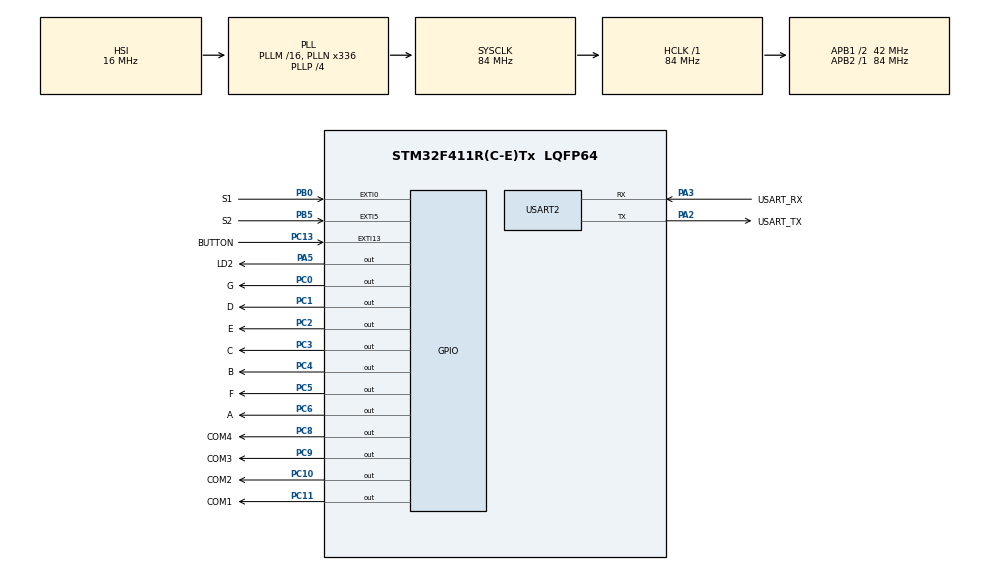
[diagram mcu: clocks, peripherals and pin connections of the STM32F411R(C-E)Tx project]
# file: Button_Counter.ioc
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Mcu.Family=STM32F4
Mcu.Name=STM32F411R(C-E)Tx
Mcu.Package=LQFP64
NVIC.EXTI0_IRQn=true\:0\:0\:false\:false\:true\:true\:true\:true
NVIC.EXTI15_10_IRQn=true\:0\:0\:false\:false\:true\:true\:true\:true
NVIC.EXTI9_5_IRQn=true\:0\:0\:false\:false\:true\:true\:true\:true
NVIC.PriorityGroup=NVIC_PRIORITYGROUP_0
NVIC.TIM1_TRG_COM_TIM11_IRQn=true\:0\:0\:false\:false\:true\:true\:true\:true
PA13.GPIO_Label=TMS
PA13.Mode=Serial_Wire
PA13.Signal=SYS_JTMS-SWDIO
PA14.GPIO_Label=TCK
PA14.Mode=Serial_Wire
PA14.Signal=SYS_JTCK-SWCLK
PA2.GPIO_Label=USART_TX
PA2.Mode=Asynchronous
PA2.Signal=USART2_TX
PA3.GPIO_Label=USART_RX
PA3.Mode=Asynchronous
PA3.Signal=USART2_RX
PA5.GPIO_Label=LD2
PA5.Signal=GPIO_Output
PB0.GPIO_Label=S1
PB0.GPIO_ModeDefaultEXTI=GPIO_MODE_IT_RISING
PB0.GPIO_PuPd=GPIO_PULLUP
PB0.Signal=GPXTI0
PB3.GPIO_Label=SWO
PB3.Signal=SYS_JTDO-SWO
PB5.GPIO_Label=S2
PB5.GPIO_ModeDefaultEXTI=GPIO_MODE_IT_RISING
PB5.GPIO_PuPd=GPIO_PULLUP
PB5.Signal=GPXTI5
PC0.GPIO_Label=G
PC0.Signal=GPIO_Output
PC1.GPIO_Label=D
PC1.Signal=GPIO_Output
PC10.GPIO_Label=COM2
PC10.Signal=GPIO_Output
PC11.GPIO_Label=COM1
PC11.Signal=GPIO_Output
PC13-ANTI_TAMP.GPIO_Label=BUTTON
PC13-ANTI_TAMP.Signal=GPXTI13
PC14-OSC32_IN.Mode=LSE-External-Oscillator
PC14-OSC32_IN.Signal=RCC_OSC32_IN
PC15-OSC32_OUT.Mode=LSE-External-Oscillator
PC15-OSC32_OUT.Signal=RCC_OSC32_OUT
PC2.GPIO_Label=E
PC2.Signal=GPIO_Output
PC3.GPIO_Label=C
PC3.Signal=GPIO_Output
PC4.GPIO_Label=B
PC4.Signal=GPIO_Output
PC5.GPIO_Label=F
PC5.Signal=GPIO_Output
PC6.GPIO_Label=A
PC6.Signal=GPIO_Output
PC8.GPIO_Label=COM4
PC8.Signal=GPIO_Output
PC9.GPIO_Label=COM3
PC9.Signal=GPIO_Output
PH0\ -\ OSC_IN.Mode=HSE-External-Clock-Source
PH0\ -\ OSC_IN.Signal=RCC_OSC_IN
PH1\ -\ OSC_OUT.Mode=HSE-External-Clock-Source
PH1\ -\ OSC_OUT.Signal=RCC_OSC_OUT
ProjectManager.HeapSize=0x200
ProjectManager.StackSize=0x400
ProjectManager.TargetToolchain=STM32CubeIDE
RCC.48MHZClocksFreq_Value=84000000
RCC.AHBFreq_Value=84000000
RCC.APB1CLKDivider=RCC_HCLK_DIV2
RCC.APB1Freq_Value=42000000
RCC.APB1TimFreq_Value=84000000
RCC.APB2Freq_Value=84000000
RCC.APB2TimFreq_Value=84000000
RCC.CortexFreq_Value=84000000
RCC.FLatency-AdvancedSettings=FLASH_LATENCY_2
RCC.HCLKFreq_Value=84000000
RCC.HSE_VALUE=8000000
RCC.HSI_VALUE=16000000
RCC.PLLN=336
RCC.PLLP=RCC_PLLP_DIV4
RCC.SYSCLKFreq_VALUE=84000000
RCC.SYSCLKSource=RCC_SYSCLKSOURCE_PLLCLK
RCC.VCOOutputFreq_Value=336000000
TIM11.AutoReloadPreload=TIM_AUTORELOAD_PRELOAD_DISABLE
TIM11.Period=99
TIM11.Prescaler=41999
USART2.VirtualMode=VM_ASYNC
VP_TIM11_VS_ClockSourceINT.Mode=Enable_Timer
board=NUCLEO-F411RE

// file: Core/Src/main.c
/* USER CODE BEGIN Header */
/**
  ******************************************************************************
  * @file           : main.c
  * @brief          : Main program body
  ******************************************************************************
  * @attention
  *
  * Copyright (c) 2022 STMicroelectronics.
  * All rights reserved.
  *
  * This software is licensed under terms that can be found in the LICENSE file
  * in the root directory of this software component.
  * If no LICENSE file comes with this software, it is provided AS-IS.
  *
  ******************************************************************************
  */
/* USER CODE END Header */
#include "main.h"

/* USER CODE BEGIN Includes */
#include <stdio.h>
#include <stdbool.h>
/* USER CODE END Includes */

TIM_HandleTypeDef htim11;
UART_HandleTypeDef huart2;

/* USER CODE BEGIN PV */

volatile int number = 1981; //default number
volatile uint8_t COM = 4;	//actual display port
_Bool state = true;			//button debouncing flag

/* USER CODE END PV */

void SystemClock_Config(void);
static void MX_GPIO_Init(void);
static void MX_USART2_UART_Init(void);
static void MX_TIM11_Init(void);
/* USER CODE BEGIN PFP */

void HAL_TIM_PeriodElapsedCallback(TIM_HandleTypeDef *htim){
//				Timer interrupt
	if(HAL_GPIO_ReadPin(S1_GPIO_Port, S1_Pin) == GPIO_PIN_RESET){	//interrupt unlocked S1 button
		number--;
		state = true;
		HAL_TIM_Base_Stop_IT(&htim11);
	}

	if(HAL_GPIO_ReadPin(S2_GPIO_Port, S2_Pin) == GPIO_PIN_RESET){ 	//interrupt unlocked S2 button
		number++;
		state = true;
		HAL_TIM_Base_Stop_IT(&htim11);
	}
}

void led_Init(){
//		Starting led initialization ( check is all LEDs is work )
	  HAL_GPIO_WritePin(LD2_GPIO_Port, LD2_Pin, GPIO_PIN_SET);	//on board led LD2
	  HAL_Delay(800);
	  HAL_GPIO_WritePin(LD2_GPIO_Port, LD2_Pin, GPIO_PIN_RESET);

	  HAL_GPIO_WritePin(COM1_GPIO_Port, COM1_Pin, GPIO_PIN_RESET);	//avaliable all display Port
	  HAL_GPIO_WritePin(COM2_GPIO_Port, COM2_Pin, GPIO_PIN_RESET);
	  HAL_GPIO_WritePin(COM3_GPIO_Port, COM3_Pin, GPIO_PIN_RESET);
	  HAL_GPIO_WritePin(COM4_GPIO_Port, COM4_Pin, GPIO_PIN_RESET);
	  HAL_GPIO_WritePin(A_GPIO_Port, A_Pin, GPIO_PIN_SET);	//switch on segment display sector: A
	  HAL_GPIO_WritePin(B_GPIO_Port, B_Pin, GPIO_PIN_SET);	//: B
	  HAL_GPIO_WritePin(C_GPIO_Port, C_Pin, GPIO_PIN_SET);	//: C
	  HAL_GPIO_WritePin(D_GPIO_Port, D_Pin, GPIO_PIN_SET);	//: D
	  HAL_GPIO_WritePin(E_GPIO_Port, E_Pin, GPIO_PIN_SET);	//: E
	  HAL_GPIO_WritePin(F_GPIO_Port, F_Pin, GPIO_PIN_SET);	//: F
	  HAL_GPIO_WritePin(G_GPIO_Port, G_Pin, GPIO_PIN_SET);	//: G

	  HAL_Delay(800);

	  HAL_GPIO_WritePin(A_GPIO_Port, A_Pin, GPIO_PIN_RESET); //switch off all selector
	  HAL_GPIO_WritePin(B_GPIO_Port, B_Pin, GPIO_PIN_RESET);
	  HAL_GPIO_WritePin(C_GPIO_Port, C_Pin, GPIO_PIN_RESET);
	  HAL_GPIO_WritePin(D_GPIO_Port, D_Pin, GPIO_PIN_RESET);
	  HAL_GPIO_WritePin(E_GPIO_Port, E_Pin, GPIO_PIN_RESET);
	  HAL_GPIO_WritePin(F_GPIO_Port, F_Pin, GPIO_PIN_RESET);
	  HAL_GPIO_WritePin(G_GPIO_Port, G_Pin, GPIO_PIN_RESET);
}

void display(uint8_t number, uint8_t displayPort){

	switch(number){	//		Switch with numbers on display
	case 1:
		  HAL_GPIO_WritePin(A_GPIO_Port, A_Pin, GPIO_PIN_RESET);
		  HAL_GPIO_WritePin(B_GPIO_Port, B_Pin, GPIO_PIN_RESET);
		  HAL_GPIO_WritePin(C_GPIO_Port, C_Pin, GPIO_PIN_RESET);
		  HAL_GPIO_WritePin(D_GPIO_Port, D_Pin, GPIO_PIN_RESET);
		  HAL_GPIO_WritePin(E_GPIO_Port, E_Pin, GPIO_PIN_SET);
		  HAL_GPIO_WritePin(F_GPIO_Port, F_Pin, GPIO_PIN_SET);
		  HAL_GPIO_WritePin(G_GPIO_Port, G_Pin, GPIO_PIN_RESET);

		break;
	case 2:
		  HAL_GPIO_WritePin(A_GPIO_Port, A_Pin, GPIO_PIN_SET);
		  HAL_GPIO_WritePin(B_GPIO_Port, B_Pin, GPIO_PIN_SET);
		  HAL_GPIO_WritePin(C_GPIO_Port, C_Pin, GPIO_PIN_RESET);
		  HAL_GPIO_WritePin(D_GPIO_Port, D_Pin, GPIO_PIN_SET);
		  HAL_GPIO_WritePin(E_GPIO_Port, E_Pin, GPIO_PIN_SET);
		  HAL_GPIO_WritePin(F_GPIO_Port, F_Pin, GPIO_PIN_RESET);
		  HAL_GPIO_WritePin(G_GPIO_Port, G_Pin, GPIO_PIN_SET);

		break;
	case 3:
		  HAL_GPIO_WritePin(A_GPIO_Port, A_Pin, GPIO_PIN_SET);
		  HAL_GPIO_WritePin(B_GPIO_Port, B_Pin, GPIO_PIN_SET);
		  HAL_GPIO_WritePin(C_GPIO_Port, C_Pin, GPIO_PIN_SET);
		  HAL_GPIO_WritePin(D_GPIO_Port, D_Pin, GPIO_PIN_SET);
		  HAL_GPIO_WritePin(E_GPIO_Port, E_Pin, GPIO_PIN_RESET);
		  HAL_GPIO_WritePin(F_GPIO_Port, F_Pin, GPIO_PIN_RESET);
		  HAL_GPIO_WritePin(G_GPIO_Port, G_Pin, GPIO_PIN_SET);

		break;
	case 4:
		  HAL_GPIO_WritePin(A_GPIO_Port, A_Pin, GPIO_PIN_RESET);
		  HAL_GPIO_WritePin(B_GPIO_Port, B_Pin, GPIO_PIN_SET);
		  HAL_GPIO_WritePin(C_GPIO_Port, C_Pin, GPIO_PIN_SET);
		  HAL_GPIO_WritePin(D_GPIO_Port, D_Pin, GPIO_PIN_RESET);
		  HAL_GPIO_WritePin(E_GPIO_Port, E_Pin, GPIO_PIN_RESET);
		  HAL_GPIO_WritePin(F_GPIO_Port, F_Pin, GPIO_PIN_SET);
		  HAL_GPIO_WritePin(G_GPIO_Port, G_Pin, GPIO_PIN_SET);

		break;
	case 5:
		  HAL_GPIO_WritePin(A_GPIO_Port, A_Pin, GPIO_PIN_SET);
		  HAL_GPIO_WritePin(B_GPIO_Port, B_Pin, GPIO_PIN_RESET);
		  HAL_GPIO_WritePin(C_GPIO_Port, C_Pin, GPIO_PIN_SET);
		  HAL_GPIO_WritePin(D_GPIO_Port, D_Pin, GPIO_PIN_SET);
		  HAL_GPIO_WritePin(E_GPIO_Port, E_Pin, GPIO_PIN_RESET);
		  HAL_GPIO_WritePin(F_GPIO_Port, F_Pin, GPIO_PIN_SET);
		  HAL_GPIO_WritePin(G_GPIO_Port, G_Pin, GPIO_PIN_SET);

		break;
	case 6:
		  HAL_GPIO_WritePin(A_GPIO_Port, A_Pin, GPIO_PIN_SET);
		  HAL_GPIO_WritePin(B_GPIO_Port, B_Pin, GPIO_PIN_RESET);
		  HAL_GPIO_WritePin(C_GPIO_Port, C_Pin, GPIO_PIN_SET);
		  HAL_GPIO_WritePin(D_GPIO_Port, D_Pin, GPIO_PIN_SET);
		  HAL_GPIO_WritePin(E_GPIO_Port, E_Pin, GPIO_PIN_SET);
		  HAL_GPIO_WritePin(F_GPIO_Port, F_Pin, GPIO_PIN_SET);
		  HAL_GPIO_WritePin(G_GPIO_Port, G_Pin, GPIO_PIN_SET);

		break;
	case 7:
		  HAL_GPIO_WritePin(A_GPIO_Port, A_Pin, GPIO_PIN_SET);
		  HAL_GPIO_WritePin(B_GPIO_Port, B_Pin, GPIO_PIN_SET);
		  HAL_GPIO_WritePin(C_GPIO_Port, C_Pin, GPIO_PIN_SET);
		  HAL_GPIO_WritePin(D_GPIO_Port, D_Pin, GPIO_PIN_RESET);
		  HAL_GPIO_WritePin(E_GPIO_Port, E_Pin, GPIO_PIN_RESET);
		  HAL_GPIO_WritePin(F_GPIO_Port, F_Pin, GPIO_PIN_RESET);
		  HAL_GPIO_WritePin(G_GPIO_Port, G_Pin, GPIO_PIN_RESET);
		break;
	case 8:
		  HAL_GPIO_WritePin(A_GPIO_Port, A_Pin, GPIO_PIN_SET);
		  HAL_GPIO_WritePin(B_GPIO_Port, B_Pin, GPIO_PIN_SET);
		  HAL_GPIO_WritePin(C_GPIO_Port, C_Pin, GPIO_PIN_SET);
		  HAL_GPIO_WritePin(D_GPIO_Port, D_Pin, GPIO_PIN_SET);
		  HAL_GPIO_WritePin(E_GPIO_Port, E_Pin, GPIO_PIN_SET);
		  HAL_GPIO_WritePin(F_GPIO_Port, F_Pin, GPIO_PIN_SET);
		  HAL_GPIO_WritePin(G_GPIO_Port, G_Pin, GPIO_PIN_SET);

		break;
	case 9:
		  HAL_GPIO_WritePin(A_GPIO_Port, A_Pin, GPIO_PIN_SET);
		  HAL_GPIO_WritePin(B_GPIO_Port, B_Pin, GPIO_PIN_SET);
		  HAL_GPIO_WritePin(C_GPIO_Port, C_Pin, GPIO_PIN_SET);
		  HAL_GPIO_WritePin(D_GPIO_Port, D_Pin, GPIO_PIN_SET);
		  HAL_GPIO_WritePin(E_GPIO_Port, E_Pin, GPIO_PIN_RESET);
		  HAL_GPIO_WritePin(F_GPIO_Port, F_Pin, GPIO_PIN_SET);
		  HAL_GPIO_WritePin(G_GPIO_Port, G_Pin, GPIO_PIN_SET);

		break;
	case 0:
		  HAL_GPIO_WritePin(A_GPIO_Port, A_Pin, GPIO_PIN_SET);
		  HAL_GPIO_WritePin(B_GPIO_Port, B_Pin, GPIO_PIN_SET);
		  HAL_GPIO_WritePin(C_GPIO_Port, C_Pin, GPIO_PIN_SET);
		  HAL_GPIO_WritePin(D_GPIO_Port, D_Pin, GPIO_PIN_SET);
		  HAL_GPIO_WritePin(E_GPIO_Port, E_Pin, GPIO_PIN_SET);
		  HAL_GPIO_WritePin(F_GPIO_Port, F_Pin, GPIO_PIN_SET);
		  HAL_GPIO_WritePin(G_GPIO_Port, G_Pin, GPIO_PIN_RESET);
		break;
	}

	switch(displayPort){	// switch for display ports
		case 1:
			HAL_GPIO_WritePin(COM1_GPIO_Port, COM1_Pin, GPIO_PIN_RESET);
			HAL_GPIO_WritePin(COM2_GPIO_Port, COM2_Pin, GPIO_PIN_SET);
			HAL_GPIO_WritePin(COM3_GPIO_Port, COM3_Pin, GPIO_PIN_SET);
			HAL_GPIO_WritePin(COM4_GPIO_Port, COM4_Pin, GPIO_PIN_SET);
			break;
		case 2:
			HAL_GPIO_WritePin(COM1_GPIO_Port, COM1_Pin, GPIO_PIN_SET);
			HAL_GPIO_WritePin(COM2_GPIO_Port, COM2_Pin, GPIO_PIN_RESET);
			HAL_GPIO_WritePin(COM3_GPIO_Port, COM3_Pin, GPIO_PIN_SET);
			HAL_GPIO_WritePin(COM4_GPIO_Port, COM4_Pin, GPIO_PIN_SET);
			break;
		case 3:
			HAL_GPIO_WritePin(COM1_GPIO_Port, COM1_Pin, GPIO_PIN_SET);
			HAL_GPIO_WritePin(COM2_GPIO_Port, COM2_Pin, GPIO_PIN_SET);
			HAL_GPIO_WritePin(COM3_GPIO_Port, COM3_Pin, GPIO_PIN_RESET);
			HAL_GPIO_WritePin(COM4_GPIO_Port, COM4_Pin, GPIO_PIN_SET);
			break;
		case 4:
			HAL_GPIO_WritePin(COM1_GPIO_Port, COM1_Pin, GPIO_PIN_SET);
			HAL_GPIO_WritePin(COM2_GPIO_Port, COM2_Pin, GPIO_PIN_SET);
			HAL_GPIO_WritePin(COM3_GPIO_Port, COM3_Pin, GPIO_PIN_SET);
			HAL_GPIO_WritePin(COM4_GPIO_Port, COM4_Pin, GPIO_PIN_RESET);
			break;

		}
}

void HAL_GPIO_EXTI_Callback(uint16_t GPIO_Pin){

	if(GPIO_Pin == S1_Pin && state == true){	//interrupt for S1 Button
		HAL_TIM_Base_Start_IT(&htim11);			//debouncing timer START
		state = false;
	}

	if(GPIO_Pin == S2_Pin && state == true){	//interrupt for S2 Button
		HAL_TIM_Base_Start_IT(&htim11);			// debouncing timer START
		state = false;
	}

}

void activeDisplay(uint16_t number, uint8_t refresh){
	uint8_t counter=1000;
	uint8_t COM;
	 for(COM = 1; COM<5; COM ++){	//Counting display port <1-4>
		 display((number/counter)%10, COM);
		 counter/=10;
		 display(refresh);
	 }
}
/* USER CODE END PFP */

int main(void)
{

  /* MCU Configuration--------------------------------------------------------*/

  /* Reset of all peripherals, Initializes the Flash interface and the Systick. */
  HAL_Init();

  /* Configure the system clock */
  SystemClock_Config();

  /* Initialize all configured peripherals */
  MX_GPIO_Init();
  MX_USART2_UART_Init();
  MX_TIM11_Init();
  /* USER CODE BEGIN 2 */
  led_Init();
  HAL_TIM_Base_Start_IT(&htim11);

  /* USER CODE END 2 */

  /* Infinite loop */
  /* USER CODE BEGIN WHILE */

  	  uint8_t refresh = 5;	//display refreshing time (5ms)

  while (1)
  {
	  activeDisplay(number, refresh);

    /* USER CODE END WHILE */

  }
}

void SystemClock_Config(void)
{
  RCC_OscInitTypeDef RCC_OscInitStruct = {0};
  RCC_ClkInitTypeDef RCC_ClkInitStruct = {0};

  /** Configure the main internal regulator output voltage
  */
  __HAL_RCC_PWR_CLK_ENABLE();
  __HAL_PWR_VOLTAGESCALING_CONFIG(PWR_REGULATOR_VOLTAGE_SCALE1);

  /** Initializes the RCC Oscillators according to the specified parameters
  * in the RCC_OscInitTypeDef structure.
  */
  RCC_OscInitStruct.OscillatorType = RCC_OSCILLATORTYPE_HSI;
  RCC_OscInitStruct.HSIState = RCC_HSI_ON;
  RCC_OscInitStruct.HSICalibrationValue = RCC_HSICALIBRATION_DEFAULT;
  RCC_OscInitStruct.PLL.PLLState = RCC_PLL_ON;
  RCC_OscInitStruct.PLL.PLLSource = RCC_PLLSOURCE_HSI;
  RCC_OscInitStruct.PLL.PLLM = 16;
  RCC_OscInitStruct.PLL.PLLN = 336;
  RCC_OscInitStruct.PLL.PLLP = RCC_PLLP_DIV4;
  RCC_OscInitStruct.PLL.PLLQ = 4;
  if (HAL_RCC_OscConfig(&RCC_OscInitStruct) != HAL_OK)
  {
    Error_Handler();
  }

  /** Initializes the CPU, AHB and APB buses clocks
  */
  RCC_ClkInitStruct.ClockType = RCC_CLOCKTYPE_HCLK|RCC_CLOCKTYPE_SYSCLK
                              |RCC_CLOCKTYPE_PCLK1|RCC_CLOCKTYPE_PCLK2;
  RCC_ClkInitStruct.SYSCLKSource = RCC_SYSCLKSOURCE_PLLCLK;
  RCC_ClkInitStruct.AHBCLKDivider = RCC_SYSCLK_DIV1;
  RCC_ClkInitStruct.APB1CLKDivider = RCC_HCLK_DIV2;
  RCC_ClkInitStruct.APB2CLKDivider = RCC_HCLK_DIV1;

  if (HAL_RCC_ClockConfig(&RCC_ClkInitStruct, FLASH_LATENCY_2) != HAL_OK)
  {
    Error_Handler();
  }
}

static void MX_TIM11_Init(void)
{

  htim11.Instance = TIM11;
  htim11.Init.Prescaler = 41999;
  htim11.Init.CounterMode = TIM_COUNTERMODE_UP;
  htim11.Init.Period = 99;
  htim11.Init.ClockDivision = TIM_CLOCKDIVISION_DIV1;
  htim11.Init.AutoReloadPreload = TIM_AUTORELOAD_PRELOAD_DISABLE;
  if (HAL_TIM_Base_Init(&htim11) != HAL_OK)
  {
    Error_Handler();
  }

}

static void MX_USART2_UART_Init(void)
{

  huart2.Instance = USART2;
  huart2.Init.BaudRate = 115200;
  huart2.Init.WordLength = UART_WORDLENGTH_8B;
  huart2.Init.StopBits = UART_STOPBITS_1;
  huart2.Init.Parity = UART_PARITY_NONE;
  huart2.Init.Mode = UART_MODE_TX_RX;
  huart2.Init.HwFlowCtl = UART_HWCONTROL_NONE;
  huart2.Init.OverSampling = UART_OVERSAMPLING_16;
  if (HAL_UART_Init(&huart2) != HAL_OK)
  {
    Error_Handler();
  }

}

static void MX_GPIO_Init(void)
{
  GPIO_InitTypeDef GPIO_InitStruct = {0};

  /* GPIO Ports Clock Enable */
  __HAL_RCC_GPIOC_CLK_ENABLE();
  __HAL_RCC_GPIOH_CLK_ENABLE();
  __HAL_RCC_GPIOA_CLK_ENABLE();
  __HAL_RCC_GPIOB_CLK_ENABLE();

  /*Configure GPIO pin Output Level */
  HAL_GPIO_WritePin(GPIOC, G_Pin|D_Pin|E_Pin|C_Pin
                          |B_Pin|F_Pin|A_Pin|COM4_Pin
                          |COM3_Pin|COM2_Pin|COM1_Pin, GPIO_PIN_RESET);

  /*Configure GPIO pin Output Level */
  HAL_GPIO_WritePin(LD2_GPIO_Port, LD2_Pin, GPIO_PIN_RESET);

  /*Configure GPIO pin : BUTTON_Pin */
  GPIO_InitStruct.Pin = BUTTON_Pin;
  GPIO_InitStruct.Mode = GPIO_MODE_IT_RISING;
  GPIO_InitStruct.Pull = GPIO_NOPULL;
  HAL_GPIO_Init(BUTTON_GPIO_Port, &GPIO_InitStruct);

  /*Configure GPIO pins : G_Pin D_Pin E_Pin C_Pin
                           B_Pin F_Pin A_Pin COM4_Pin
                           COM3_Pin COM2_Pin COM1_Pin */
  GPIO_InitStruct.Pin = G_Pin|D_Pin|E_Pin|C_Pin
                          |B_Pin|F_Pin|A_Pin|COM4_Pin
                          |COM3_Pin|COM2_Pin|COM1_Pin;
  GPIO_InitStruct.Mode = GPIO_MODE_OUTPUT_PP;
  GPIO_InitStruct.Pull = GPIO_NOPULL;
  GPIO_InitStruct.Speed = GPIO_SPEED_FREQ_LOW;
  HAL_GPIO_Init(GPIOC, &GPIO_InitStruct);

  /*Configure GPIO pin : LD2_Pin */
  GPIO_InitStruct.Pin = LD2_Pin;
  GPIO_InitStruct.Mode = GPIO_MODE_OUTPUT_PP;
  GPIO_InitStruct.Pull = GPIO_NOPULL;
  GPIO_InitStruct.Speed = GPIO_SPEED_FREQ_LOW;
  HAL_GPIO_Init(LD2_GPIO_Port, &GPIO_InitStruct);

  /*Configure GPIO pins : S1_Pin S2_Pin */
  GPIO_InitStruct.Pin = S1_Pin|S2_Pin;
  GPIO_InitStruct.Mode = GPIO_MODE_IT_RISING;
  GPIO_InitStruct.Pull = GPIO_PULLUP;
  HAL_GPIO_Init(GPIOB, &GPIO_InitStruct);

  /* EXTI interrupt init*/
  HAL_NVIC_SetPriority(EXTI0_IRQn, 0, 0);
  HAL_NVIC_EnableIRQ(EXTI0_IRQn);

  HAL_NVIC_SetPriority(EXTI9_5_IRQn, 0, 0);
  HAL_NVIC_EnableIRQ(EXTI9_5_IRQn);

  HAL_NVIC_SetPriority(EXTI15_10_IRQn, 0, 0);
  HAL_NVIC_EnableIRQ(EXTI15_10_IRQn);

}

void Error_Handler(void)
{
  __disable_irq();
  while (1)
  {
  }
}
